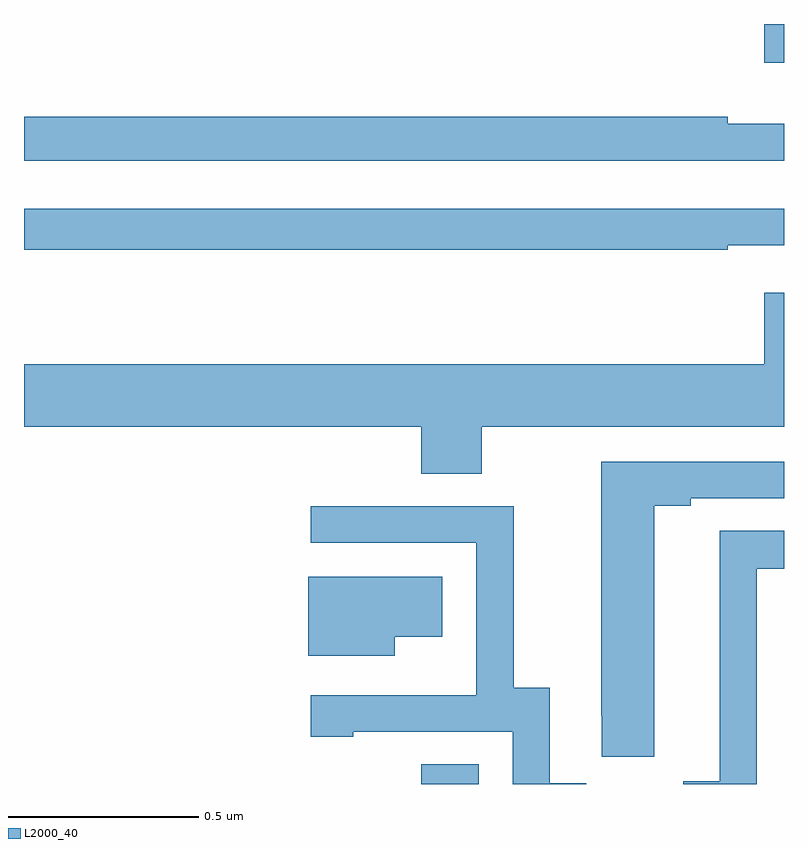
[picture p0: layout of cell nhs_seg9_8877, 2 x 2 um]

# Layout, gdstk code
import gdstk
lib = gdstk.Library(unit=1e-6, precision=1e-09)
def R(c, l, rs):  # rectangles x0, y0, x1, y1
    for r in rs: c.add(gdstk.rectangle(r[:2], r[2:], *l))
def P(c, l, *ps):  # polygons
    for p in ps: c.add(gdstk.Polygon(p, *l))
L2000_40 = (2000, 40)

nhs_seg9_8877 = lib.new_cell('nhs_seg9_8877')
R(nhs_seg9_8877, L2000_40, [(224.045,1175.5,224.197,1175.552), (224.948,1177.398,225,1177.5)])
P(nhs_seg9_8877, L2000_40, [(225,1177.237),(224.852,1177.237),(224.852,1177.256),(223,1177.256),(223,1177.14),(225,1177.14)],
  [(224.852,1176.918),(225,1176.918),(225,1177.014),(223,1177.014),(223,1176.906),(224.852,1176.906)],
  [(224.205,1176.44),(225,1176.44),(225,1176.793),(224.948,1176.793),(224.948,1176.604),(223,1176.604),(223,1176.44),(224.045,1176.44),(224.045,1176.316),(224.205,1176.316)],
  [(224.659,1176.232),(224.755,1176.232),(224.755,1176.252),(225,1176.252),(225,1176.348),(224.519,1176.348),(224.519,1175.68),(224.52,1175.68),(224.52,1175.572),(224.659,1175.572)],
  [(224.479,1175.502),(224.383,1175.502),(224.383,1175.753),(224.289,1175.753),(224.289,1176.231),(223.755,1176.231),(223.755,1176.135),(224.19,1176.135),(224.19,1175.734),(224.189,1175.734),(224.189,1175.733),(223.755,1175.733),(223.755,1175.625),(223.867,1175.625),(223.867,1175.637),(224.286,1175.637),(224.286,1175.5),(224.479,1175.5)],
  [(224.928,1176.066),(225,1176.066),(225,1176.167),(224.831,1176.167),(224.831,1175.507),(224.735,1175.507),(224.735,1175.5),(224.928,1175.5)],
  [(223.975,1175.888),(224.101,1175.888),(224.101,1176.046),(223.748,1176.046),(223.748,1175.837),(223.975,1175.837)])

lib.write_gds('nhs_seg9_8877.gds')
